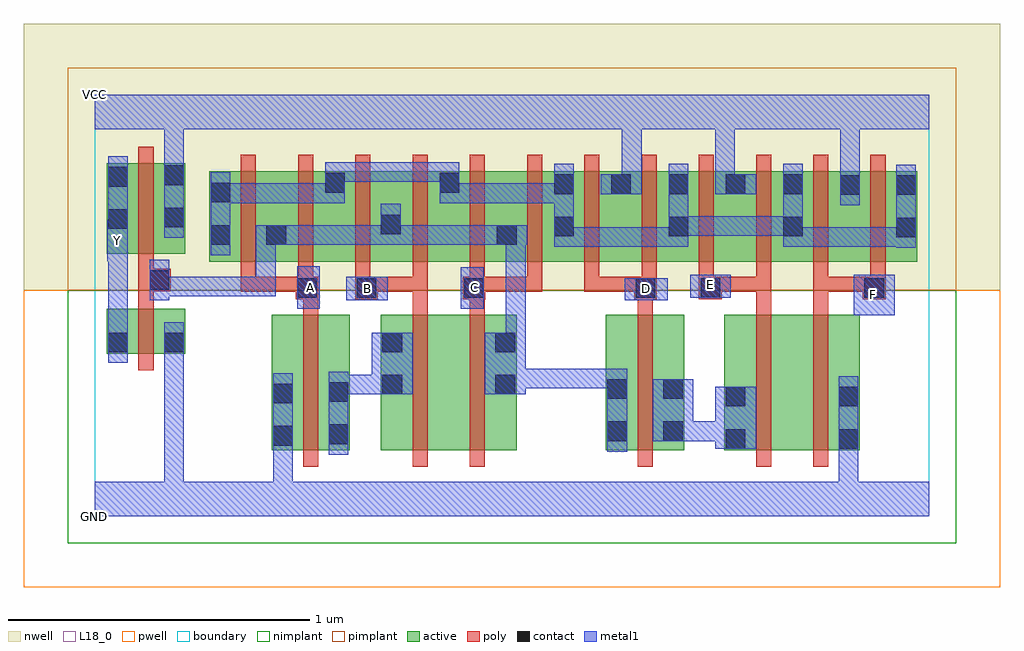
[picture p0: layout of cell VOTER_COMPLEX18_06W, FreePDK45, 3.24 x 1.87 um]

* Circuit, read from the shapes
.subckt VOTER_COMPLEX18_06W A B C D E F GND VCC Y
M1 GND n1 Y VSUBS nfet w=0.15u l=0.05u
M2 n2 A GND VSUBS nfet w=0.45u l=0.05u
M3 n3 B n2 VSUBS nfet w=0.45u l=0.05u
M4 n1 C n3 VSUBS nfet w=0.45u l=0.05u
M5 n4 D n1 VSUBS nfet w=0.45u l=0.05u
M6 n5 E n4 VSUBS nfet w=0.45u l=0.05u
M7 GND F n5 VSUBS nfet w=0.45u l=0.05u
M8 VCC n1 Y n6 pfet w=0.3u l=0.05u
M9 n1 A n7 n6 pfet w=0.3u l=0.05u m=2
M10 n1 B n7 n6 pfet w=0.3u l=0.05u m=2
M11 n1 C n7 n6 pfet w=0.3u l=0.05u m=2
M12 VCC D n7 n6 pfet w=0.3u l=0.05u m=2
M13 VCC E n7 n6 pfet w=0.3u l=0.05u m=2
M14 VCC F n7 n6 pfet w=0.3u l=0.05u m=2
.ends

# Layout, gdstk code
import gdstk
lib = gdstk.Library(unit=1e-6, precision=1e-09)
def R(c, l, rs):  # rectangles x0, y0, x1, y1
    for r in rs: c.add(gdstk.rectangle(r[:2], r[2:], *l))
def A(c, l, x, y, w, h, nx, ny, dx, dy):  # array of equal rectangles
    R(c, l, [(x+i*dx, y+j*dy, x+i*dx+w, y+j*dy+h) for i in range(nx) for j in range(ny)])
active = (1, 0)
pwell = (2, 0)
nwell = (3, 0)
nimplant = (4, 0)
pimplant = (5, 0)
poly = (9, 0)
contact = (10, 0)
metal1 = (11, 0)
L18_0 = (18, 0)
boundary = (235, 0)

voter_complex18_06w = lib.new_cell('VOTER_COMPLEX18_06W')
A(voter_complex18_06w, active, 1.14, 0.845, 0.265, 0.3, 7, 1, 0.19, 0)
A(voter_complex18_06w, active, 1.9, 0.845, 0.075, 0.3, 4, 1, 0.19, 0)
R(voter_complex18_06w, active, [(0.587,0.22,0.662,0.67), (0.587,0.22,0.847,0.67), (0.772,0.22,0.847,0.67), (0.95,0.22,1.025,0.67), (0.95,0.22,1.175,0.67), (1.175,0.22,1.4,0.67), (1.697,0.22,1.957,0.67), (1.882,0.22,1.957,0.67), (2.09,0.22,2.165,0.67), (2.09,0.22,2.315,0.67), (2.315,0.22,2.54,0.67), (2.465,0.22,2.54,0.67), (1.325,0.245,1.4,0.67), (1.697,0.245,1.772,0.67), (0.04,0.54,0.115,0.69), (0.04,0.54,0.3,0.69), (0.225,0.54,0.3,0.69), (0.38,0.845,0.64,1.145), (0.38,0.845,0.455,1.145), (0.565,0.845,0.835,1.145), (0.76,0.845,1.02,1.145), (0.945,0.845,1.215,1.145), (1.52,0.845,1.595,1.145), (2.47,0.845,2.73,1.145), (2.655,0.845,2.73,1.137), (0.76,0.852,0.835,1.145), (1.14,0.852,1.215,1.145), (1.71,0.852,1.785,1.145), (0.04,0.872,0.3,1.172), (0.04,0.872,0.115,1.165), (0.225,0.872,0.3,1.172), (0.565,0.897,0.64,1.07), (1.33,0.897,1.405,1.07), (0.945,0.932,1.02,1.07)])
R(voter_complex18_06w, pwell, [(-0.235,-0.235,3.005,0.75)])
R(voter_complex18_06w, nwell, [(-0.235,0.75,3.005,1.635)])
R(voter_complex18_06w, nimplant, [(-0.09,-0.09,2.86,0.75)])
R(voter_complex18_06w, pimplant, [(-0.09,0.75,2.86,1.49)])
A(voter_complex18_06w, poly, 0.485, 0.745, 0.05, 0.095, 12, 1, 0.19, 0)
A(voter_complex18_06w, poly, 0.485, 0.79, 0.05, 0.41, 12, 1, 0.19, 0)
R(voter_complex18_06w, poly, [(0.692,0.165,0.742,0.725), (1.055,0.165,1.105,0.725), (1.245,0.165,1.295,0.725), (1.802,0.165,1.852,0.725), (2.195,0.165,2.245,0.725), (2.385,0.165,2.435,0.725), (0.145,0.485,0.195,0.745), (0.692,0.675,0.742,0.77), (1.055,0.675,1.105,0.795), (1.245,0.675,1.295,0.77), (1.802,0.675,1.852,0.77), (2.195,0.675,2.245,0.795), (2.385,0.675,2.435,0.795), (0.145,0.695,0.195,0.797), (0.667,0.72,0.742,0.795), (0.865,0.72,0.94,0.795), (1.222,0.72,1.297,0.795), (1.79,0.72,1.865,0.795), (2.005,0.72,2.082,0.795), (2.55,0.72,2.625,0.795), (0.485,0.745,0.535,0.795), (0.485,0.745,0.717,0.795), (0.667,0.745,0.717,0.795), (0.667,0.745,0.717,0.795), (0.89,0.745,0.94,0.795), (0.89,0.745,0.94,0.795), (0.89,0.745,1.105,0.795), (1.055,0.745,1.105,0.795), (1.247,0.745,1.485,0.795), (1.435,0.745,1.485,0.795), (1.435,0.745,1.485,0.795), (1.435,0.745,1.485,0.795), (1.625,0.745,1.675,0.795), (1.625,0.745,1.675,0.795), (1.625,0.745,1.675,0.795), (1.625,0.745,1.84,0.795), (2.032,0.745,2.082,0.795), (2.032,0.745,2.082,0.795), (2.032,0.745,2.245,0.795), (2.195,0.745,2.245,0.795), (2.385,0.745,2.435,0.795), (2.385,0.745,2.6,0.795), (2.55,0.745,2.6,0.795), (2.55,0.745,2.6,0.795), (0.145,0.747,0.252,0.822), (0.145,0.772,0.195,0.862), (0.145,0.812,0.195,1.227)])
A(voter_complex18_06w, contact, 1.525, 0.93, 0.065, 0.065, 3, 1, 0.38, 0)
A(voter_complex18_06w, contact, 1.525, 1.07, 0.065, 0.065, 5, 1, 0.19, 0)
R(voter_complex18_06w, contact, [(2.095,0.225,2.16,0.29), (2.47,0.225,2.535,0.29), (0.592,0.235,0.657,0.3), (0.777,0.24,0.842,0.305), (1.702,0.25,1.767,0.315), (1.887,0.25,1.952,0.315), (2.095,0.365,2.16,0.43), (2.47,0.365,2.535,0.43), (0.592,0.375,0.657,0.44), (0.777,0.38,0.842,0.445), (1.702,0.39,1.767,0.455), (1.887,0.39,1.952,0.455), (0.955,0.405,1.02,0.47), (1.33,0.405,1.395,0.47), (0.045,0.545,0.11,0.61), (0.23,0.545,0.295,0.61), (0.955,0.545,1.02,0.61), (1.33,0.545,1.395,0.61), (0.672,0.725,0.737,0.79), (0.87,0.725,0.935,0.79), (1.227,0.725,1.292,0.79), (1.795,0.725,1.86,0.79), (2.012,0.725,2.077,0.79), (2.555,0.725,2.62,0.79), (0.182,0.752,0.247,0.817), (0.385,0.902,0.45,0.967), (0.57,0.902,0.635,0.967), (1.335,0.902,1.4,0.967), (2.66,0.927,2.725,0.992), (0.95,0.937,1.015,1.002), (0.045,0.955,0.11,1.02), (0.23,0.96,0.295,1.025), (0.385,1.042,0.45,1.107), (2.475,1.067,2.54,1.132), (2.66,1.067,2.725,1.132), (0.765,1.075,0.83,1.14), (1.145,1.075,1.21,1.14), (0.045,1.095,0.11,1.16), (0.23,1.1,0.295,1.165)])
A(voter_complex18_06w, metal1, 1.525, 0.895, 0.065, 0.275, 3, 1, 0.38, 0)
R(voter_complex18_06w, metal1, [(0,0,2.77,0.115), (0.23,0.05,0.295,0.575), (0.592,0.05,0.657,0.115), (0.592,0.05,0.657,0.115), (0.592,0.05,0.657,0.265), (2.47,0.05,2.535,0.115), (2.47,0.05,2.535,0.115), (2.47,0.05,2.535,0.255), (2.47,0.19,2.535,0.465), (0.592,0.2,0.657,0.475), (0.777,0.205,0.842,0.48), (1.702,0.215,1.767,0.49), (2.06,0.225,2.195,0.43), (1.852,0.25,1.987,0.455), (1.922,0.25,2.125,0.315), (2.06,0.25,2.125,0.315), (2.06,0.25,2.125,0.315), (0.777,0.405,0.842,0.47), (0.777,0.405,0.842,0.47), (0.777,0.405,0.985,0.47), (0.92,0.405,1.055,0.61), (1.295,0.405,1.43,0.61), (1.365,0.425,1.43,0.49), (1.365,0.425,1.43,0.49), (1.365,0.425,1.572,0.49), (1.507,0.425,1.572,0.49), (1.507,0.425,1.687,0.49), (1.622,0.425,1.687,0.49), (1.622,0.425,1.767,0.49), (0.045,0.51,0.11,0.645), (0.23,0.51,0.295,0.575), (0.23,0.51,0.295,0.575), (0.23,0.51,0.295,0.575), (0.23,0.51,0.295,0.575), (0.23,0.51,0.295,0.575), (0.23,0.51,0.295,0.575), (0.23,0.51,0.295,0.645), (1.365,0.545,1.43,0.61), (1.365,0.545,1.43,0.61), (1.365,0.545,1.43,0.967), (0.045,0.58,0.11,0.912), (2.52,0.667,2.655,0.802), (0.672,0.69,0.747,0.83), (1.215,0.69,1.292,0.827), (0.182,0.717,0.247,0.852), (0.835,0.717,0.972,0.795), (1.76,0.717,1.902,0.79), (1.977,0.725,2.112,0.802), (0.182,0.73,0.247,0.795), (0.182,0.73,0.247,0.795), (0.182,0.73,0.385,0.795), (0.32,0.73,0.385,0.795), (0.32,0.73,0.385,0.795), (0.32,0.73,0.385,0.795), (0.32,0.73,0.6,0.795), (0.535,0.73,0.6,0.795), (0.535,0.73,0.6,0.967), (0.042,0.847,0.11,0.985), (0.385,0.867,0.45,1.142), (2.66,0.892,2.725,1.167), (1.525,0.895,1.59,0.96), (1.525,0.895,1.59,0.96), (1.525,0.895,1.59,0.96), (1.525,0.895,1.59,0.96), (1.525,0.895,1.727,0.96), (1.662,0.895,1.727,0.96), (1.662,0.895,1.825,0.96), (1.76,0.895,1.825,0.96), (1.76,0.895,1.97,0.96), (2.285,0.895,2.4,0.96), (2.335,0.895,2.4,0.96), (2.335,0.895,2.587,0.96), (2.522,0.895,2.587,0.96), (2.522,0.895,2.725,0.96), (2.66,0.895,2.725,0.96), (2.66,0.895,2.725,0.96), (0.535,0.902,0.67,0.967), (0.605,0.902,0.67,0.967), (0.605,0.902,0.67,0.967), (0.605,0.902,0.807,0.967), (0.742,0.902,0.807,0.967), (0.742,0.902,0.807,0.967), (0.742,0.902,0.807,0.967), (0.742,0.902,1.015,0.967), (0.95,0.902,1.015,0.967), (0.95,0.902,1.015,0.967), (0.95,0.902,1.015,1.037), (0.95,0.902,1.222,0.967), (1.157,0.902,1.222,0.967), (1.157,0.902,1.222,0.967), (1.157,0.902,1.222,0.967), (1.157,0.902,1.365,0.967), (1.3,0.902,1.435,0.967), (0.045,0.92,0.11,0.985), (0.045,0.92,0.11,1.195), (0.23,0.925,0.295,1.2), (1.905,0.932,2.125,0.997), (2.06,0.932,2.125,0.997), (2.06,0.932,2.125,0.997), (2.06,0.932,2.125,0.997), (2.06,0.932,2.262,0.997), (2.197,0.932,2.262,0.997), (2.197,0.932,2.35,0.997), (2.475,1.032,2.54,1.167), (0.385,1.04,0.45,1.105), (0.385,1.04,0.45,1.105), (0.385,1.04,0.587,1.105), (0.522,1.04,0.587,1.105), (0.522,1.04,0.587,1.105), (0.522,1.04,0.587,1.105), (0.522,1.04,0.83,1.105), (0.765,1.04,0.83,1.175), (1.145,1.04,1.21,1.105), (1.145,1.04,1.21,1.105), (1.145,1.04,1.21,1.175), (1.145,1.04,1.43,1.105), (1.365,1.04,1.43,1.105), (1.365,1.04,1.43,1.105), (1.365,1.04,1.43,1.105), (1.365,1.04,1.59,1.105), (1.68,1.07,1.815,1.135), (1.75,1.07,1.815,1.135), (1.75,1.07,1.815,1.135), (1.75,1.07,1.815,1.35), (2.06,1.07,2.125,1.135), (2.06,1.07,2.125,1.135), (2.06,1.07,2.125,1.35), (2.06,1.07,2.195,1.135), (2.475,1.102,2.54,1.35), (0.765,1.11,0.83,1.175), (0.765,1.11,0.83,1.175), (0.765,1.11,0.98,1.175), (0.915,1.11,0.98,1.175), (0.915,1.11,0.98,1.175), (0.915,1.11,0.98,1.175), (0.915,1.11,1.21,1.175), (0.23,1.135,0.295,1.2), (0.23,1.135,0.295,1.2), (0.23,1.135,0.295,1.35), (0,1.285,2.77,1.4), (2.475,1.285,2.54,1.35), (2.475,1.285,2.54,1.35)])
R(voter_complex18_06w, L18_0, [(0,0,2.77,0.115), (0.23,0.05,0.295,0.575), (0.592,0.05,0.657,0.115), (0.592,0.05,0.657,0.115), (0.592,0.05,0.657,0.265), (2.47,0.05,2.535,0.115), (2.47,0.05,2.535,0.115), (2.47,0.05,2.535,0.255), (2.47,0.19,2.535,0.465), (0.592,0.2,0.657,0.475), (0.045,0.51,0.11,0.645), (0.23,0.51,0.295,0.645), (0.23,0.51,0.295,0.575), (0.23,0.51,0.295,0.575), (0.23,0.51,0.295,0.575), (0.23,0.51,0.295,0.575), (0.23,0.51,0.295,0.575), (0.23,0.51,0.295,0.575), (0.045,0.58,0.11,0.912), (2.52,0.667,2.655,0.802), (0.672,0.69,0.747,0.83), (1.215,0.69,1.292,0.827), (2.552,0.702,2.617,0.767), (0.835,0.717,0.972,0.795), (1.76,0.717,1.902,0.79), (0.872,0.722,0.937,0.787), (1.797,0.722,1.862,0.787), (1.977,0.725,2.112,0.802), (0.682,0.727,0.747,0.792), (1.227,0.727,1.292,0.792), (2.012,0.737,2.077,0.802), (0.042,0.847,0.11,0.985), (0.042,0.882,0.107,0.947), (0.045,0.92,0.11,1.195), (0.045,0.92,0.11,0.985), (0.23,0.925,0.295,1.2), (2.475,1.032,2.54,1.167), (1.68,1.07,1.815,1.135), (1.75,1.07,1.815,1.135), (1.75,1.07,1.815,1.135), (1.75,1.07,1.815,1.35), (2.06,1.07,2.125,1.135), (2.06,1.07,2.125,1.135), (2.06,1.07,2.195,1.135), (2.06,1.07,2.125,1.35), (2.475,1.102,2.54,1.35), (0.23,1.135,0.295,1.2), (0.23,1.135,0.295,1.2), (0.23,1.135,0.295,1.35), (0,1.285,2.77,1.4), (2.475,1.285,2.54,1.35), (2.475,1.285,2.54,1.35)])
R(voter_complex18_06w, boundary, [(0,0,2.77,1.4)])
voter_complex18_06w.add(gdstk.Label('A', (0.715,0.76), layer=11, texttype=0))
voter_complex18_06w.add(gdstk.Label('B', (0.905,0.755), layer=11, texttype=0))
voter_complex18_06w.add(gdstk.Label('C', (1.26,0.76), layer=11, texttype=0))
voter_complex18_06w.add(gdstk.Label('D', (1.83,0.755), layer=11, texttype=0))
voter_complex18_06w.add(gdstk.Label('E', (2.045,0.77), layer=11, texttype=0))
voter_complex18_06w.add(gdstk.Label('F', (2.585,0.735), layer=11, texttype=0))
voter_complex18_06w.add(gdstk.Label('Y', (0.075,0.915), layer=11, texttype=0))
voter_complex18_06w.add(gdstk.Label('VCC', (0,1.4), layer=11, texttype=0))
voter_complex18_06w.add(gdstk.Label('GND', (0,0), layer=11, texttype=0))

lib.write_gds('VOTER_COMPLEX18_06W.gds')
